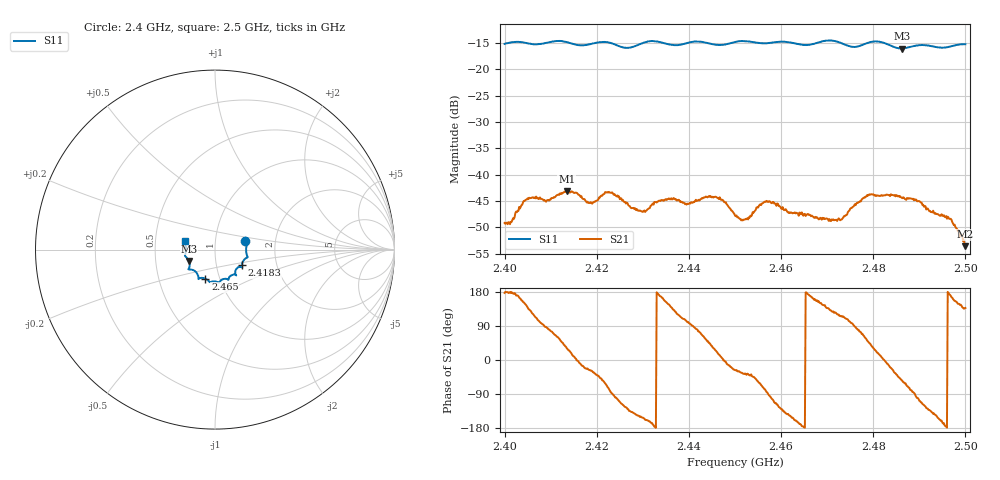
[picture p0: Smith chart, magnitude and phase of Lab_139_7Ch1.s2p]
# Hz S RI R 50
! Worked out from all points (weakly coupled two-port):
!   601 points, 2.4 GHz to 2.5 GHz, reference 50 ohm
!   highest |S21| = -43.11 dB at 2.4135 GHz (marker M1); lowest = -53.6 dB at 2.5 GHz (marker M2)
!   lowest |S11| = -16.0 dB at 2.4862 GHz (marker M3), VSWR 1.38, Z = 37.1 - j4.79 ohm
!   |S11| at or under -10 dB: start of sweep to end of sweep
!   S12 and S22 are empty: the file has one direction only
!   S11 on the Smith chart (normalised r, x): 2.4 GHz: 1.40, +0.13; 2.4183 GHz: 1.33, -0.24; 2.465 GHz: 0.86, -0.29; 2.5 GHz: 0.71, +0.07
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2.4e9  0.1686 0.0461  -0.00347 0.000176  0 0  0 0
2.401667e9  0.1772 0.0377  -0.00368 0.000201  0 0  0 0
2.405e9  0.176 0.0191  -0.00448 0.00394  0 0  0 0
2.409333e9  0.1774 -0.0304  0.000596 0.00572  0 0  0 0
2.4135e9  0.1759 -0.0457  0.006 0.00358  0 0  0 0
2.416667e9  0.1547 -0.0684  0.00608 -0.00144  0 0  0 0
2.418333e9  0.1497 -0.0868  0.00485 -0.00239  0 0  0 0
2.422333e9  0.1518 -0.0992  0.00217 -0.00649  0 0  0 0
2.4295e9  0.1131 -0.1333  -0.00389 -0.00234  0 0  0 0
2.433333e9  0.1167 -0.1413  -0.00555 0.000572  0 0  0 0
2.445667e9  0.056 -0.1625  0.00551 0.00278  0 0  0 0
2.45e9  0.0252 -0.1807  0.00366 -0.00184  0 0  0 0
2.452667e9  0.0192 -0.1839  0.00311 -0.00227  0 0  0 0
2.457e9  -0.00985 -0.1771  0.000429 -0.00558  0 0  0 0
2.465e9  -0.053 -0.1622  -0.00423 -0.000162  0 0  0 0
2.466667e9  -0.0716 -0.1575  -0.00397 0.000989  0 0  0 0
2.472667e9  -0.0917 -0.1554  -0.00168 0.00338  0 0  0 0
2.478833e9  -0.1405 -0.1107  0.00412 0.00479  0 0  0 0
2.483333e9  -0.1424 -0.0959  0.00622 -0.00147  0 0  0 0
2.486167e9  -0.1448 -0.063  0.00366 -0.00482  0 0  0 0
2.496667e9  -0.1631 0.0241  -0.00376 0.00053  0 0  0 0
2.5e9  -0.1668 0.0471  -0.00154 0.00142  0 0  0 0
